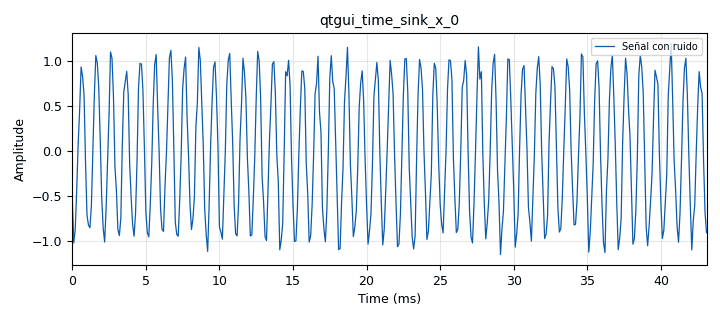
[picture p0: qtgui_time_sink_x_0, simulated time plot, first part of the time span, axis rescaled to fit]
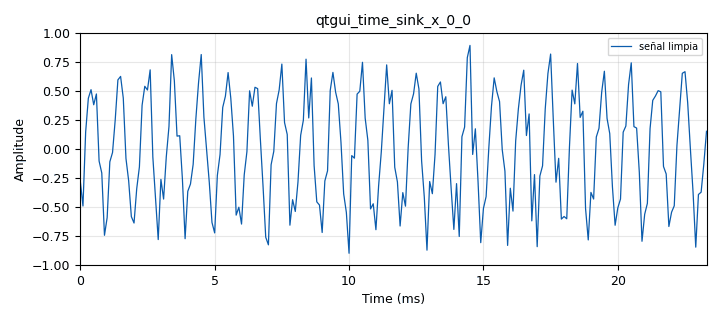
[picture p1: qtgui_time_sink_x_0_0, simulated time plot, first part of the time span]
options:
  parameters:
    author: Carlos
    generate_options: qt_gui
    id: aplicacion
    output_language: python
    title: Not titled yet
  states: {}

blocks:
- name: samp_rate
  id: variable
  parameters:
    value: '10000'
  states: {}
- name: analog_noise_source_x_0
  id: analog_noise_source_x
  parameters:
    amp: '0.1'
    noise_type: analog.GR_GAUSSIAN
    seed: '0'
    type: float
  states: {}
- name: analog_sig_source_x_0
  id: analog_sig_source_x
  parameters:
    amp: '1'
    freq: '1000'
    offset: '0'
    phase: '0'
    samp_rate: samp_rate
    type: float
    waveform: analog.GR_SIN_WAVE
  states: {}
- name: blocks_add_xx_0
  id: blocks_add_xx
  parameters:
    type: float
  states: {}
- name: blocks_throttle2_0
  id: blocks_throttle2
  parameters:
    samples_per_second: samp_rate
    type: float
  states: {}
- name: epy_block_0_0
  id: epy_block
  parameters:
    _source_code: |
      import numpy as np
      from gnuradio import gr

      class blk(gr.sync_block):
          def __init__(self):
              # Inicialización de la clase base
              gr.sync_block.__init__(
                  self,
                  name='Promedios_de_tiempos',  # Nombre que aparecerá en GRC
                  in_sig=[np.float32],  # Entrada de tipo float32
                  out_sig=[np.float32, np.float32, np.float32, np.float32, np.float32]  # Salidas de tipo float32
              )
              self.acum_anterior = 0
              self.Ntotales = 0
              self.acum_anterior1 = 0
              self.acum_anterior2 = 0

          def work(self, input_items, output_items):
              x = input_items[0]  # Señal de entrada
              y0 = output_items[0]  # Promedio de la señal
              y1 = output_items[1]  # Media cuadrática de la señal
              y2 = output_items[2]  # RMS de la señal
              y3 = output_items[3]  # Potencia promedio de la señal
              y4 = output_items[4]  # Desviación estándar de la señal

              # Cálculo del promedio
              N = len(x)
              self.Ntotales += N
              acumulado = self.acum_anterior + np.cumsum(x)
              self.acum_anterior = acumulado[-1]  # Último valor acumulado
              y0[:] = acumulado / self.Ntotales  # Promedio acumulado

              # Cálculo de la media cuadrática
              x2 = np.multiply(x, x)#
              acumulado1 = self.acum_anterior1 + np.cumsum(x2)
              self.acum_anterior1 = acumulado1[-1]  # Último valor acumulado
              y1[:] = acumulado1 / self.Ntotales  # Media cuadrática acumulada

              # Cálculo del RMS
              y2[:] = np.sqrt(y1)  # RMS = raíz cuadrada de la media cuadrática

              # Cálculo de la potencia promedio
              y3[:] = np.multiply(y2, y2)  # Potencia promedio = RMS^2

              # Cálculo de la desviación estándar
              x3 = np.multiply(x - y0, x - y0)  # (x - promedio)^2
              acumulado2 = self.acum_anterior2 + np.cumsum(x3)
              self.acum_anterior2 = acumulado2[-1]  # Último valor acumulado
              y4[:] = np.sqrt(acumulado2 / self.Ntotales)  # Desviación estándar

              # Retornamos el número de elementos procesados por salida
              return len(x)
  states: {}
- name: epy_block_0_0_0
  id: epy_block
  parameters:
    _source_code: |
      import numpy as np
      from gnuradio import gr

      class blk(gr.sync_block):
          def __init__(self):
              # Inicialización de la clase base
              gr.sync_block.__init__(
                  self,
                  name='Promedios_de_tiempos',  # Nombre que aparecerá en GRC
                  in_sig=[np.float32],  # Entrada de tipo float32
                  out_sig=[np.float32, np.float32, np.float32, np.float32, np.float32]  # Salidas de tipo float32
              )
              self.acum_anterior = 0
              self.Ntotales = 0
              self.acum_anterior1 = 0
              self.acum_anterior2 = 0

          def work(self, input_items, output_items):
              x = input_items[0]  # Señal de entrada
              y0 = output_items[0]  # Promedio de la señal
              y1 = output_items[1]  # Media cuadrática de la señal
              y2 = output_items[2]  # RMS de la señal
              y3 = output_items[3]  # Potencia promedio de la señal
              y4 = output_items[4]  # Desviación estándar de la señal

              # Cálculo del promedio
              N = len(x)
              self.Ntotales += N
              acumulado = self.acum_anterior + np.cumsum(x)
              self.acum_anterior = acumulado[-1]  # Último valor acumulado
              y0[:] = acumulado / self.Ntotales  # Promedio acumulado

              # Cálculo de la media cuadrática
              x2 = np.multiply(x, x)#
              acumulado1 = self.acum_anterior1 + np.cumsum(x2)
              self.acum_anterior1 = acumulado1[-1]  # Último valor acumulado
              y1[:] = acumulado1 / self.Ntotales  # Media cuadrática acumulada

              # Cálculo del RMS
              y2[:] = np.sqrt(y1)  # RMS = raíz cuadrada de la media cuadrática

              # Cálculo de la potencia promedio
              y3[:] = np.multiply(y2, y2)  # Potencia promedio = RMS^2

              # Cálculo de la desviación estándar
              x3 = np.multiply(x - y0, x - y0)  # (x - promedio)^2
              acumulado2 = self.acum_anterior2 + np.cumsum(x3)
              self.acum_anterior2 = acumulado2[-1]  # Último valor acumulado
              y4[:] = np.sqrt(acumulado2 / self.Ntotales)  # Desviación estándar

              # Retornamos el número de elementos procesados por salida
              return len(x)
  states: {}
- name: epy_block_1
  id: epy_block
  parameters:
    _source_code: |-
      import numpy as np
      from gnuradio import gr

      class blk(gr.sync_block):
          def __init__(self):
              # Inicializamos el bloque, señal de entrada y salida de tipo float32
              gr.sync_block.__init__(self, name='e_Diff', in_sig=[np.float32], out_sig=[np.float32])
          
          def work(self, input_items, output_items):
              x = input_items[0]  # Señal de entrada
              y0 = output_items[0]  # Señal de salida (diferencia)
              
              # Calculamos la diferencia entre muestras consecutivas
              y0[1:] = np.diff(x)  # La diferencia entre cada par de muestras consecutivas
              y0[0] = 0  # Asignamos 0 al primer valor, ya que no tiene diferencia anterior
              
              return len(output_items[0])  # Debemos devolver el tamaño de la salida
  states: {}
- name: qtgui_number_sink_0
  id: qtgui_number_sink
  parameters:
    graph_type: qtgui.NUM_GRAPH_HORIZ
    name: '"media"'
    type: float
  states: {}
- name: qtgui_number_sink_0_0
  id: qtgui_number_sink
  parameters:
    graph_type: qtgui.NUM_GRAPH_HORIZ
    name: '"media cuadratica"'
    type: float
  states: {}
- name: qtgui_number_sink_0_0_0
  id: qtgui_number_sink
  parameters:
    graph_type: qtgui.NUM_GRAPH_HORIZ
    name: '"media cuadratica"'
    type: float
  states: {}
- name: qtgui_number_sink_0_1
  id: qtgui_number_sink
  parameters:
    graph_type: qtgui.NUM_GRAPH_HORIZ
    name: '"RMS"'
    type: float
  states: {}
- name: qtgui_number_sink_0_1_0
  id: qtgui_number_sink
  parameters:
    graph_type: qtgui.NUM_GRAPH_HORIZ
    name: '"RMS"'
    type: float
  states: {}
- name: qtgui_number_sink_0_2
  id: qtgui_number_sink
  parameters:
    graph_type: qtgui.NUM_GRAPH_HORIZ
    name: '"Potencia promedio"'
    type: float
  states: {}
- name: qtgui_number_sink_0_2_0
  id: qtgui_number_sink
  parameters:
    graph_type: qtgui.NUM_GRAPH_HORIZ
    name: '"potencia promedio"'
    type: float
  states: {}
- name: qtgui_number_sink_0_3
  id: qtgui_number_sink
  parameters:
    graph_type: qtgui.NUM_GRAPH_HORIZ
    name: '"desviacion estandar"'
    type: float
  states: {}
- name: qtgui_number_sink_0_3_0
  id: qtgui_number_sink
  parameters:
    graph_type: qtgui.NUM_GRAPH_HORIZ
    name: '"desviacion estandar"'
    type: float
  states: {}
- name: qtgui_number_sink_0_4
  id: qtgui_number_sink
  parameters:
    graph_type: qtgui.NUM_GRAPH_HORIZ
    name: '"media"'
    type: float
  states: {}
- name: qtgui_time_sink_x_0
  id: qtgui_time_sink_x
  parameters:
    label1: 'Señal con ruido '
    size: '1024'
    srate: samp_rate
    type: float
  states: {}
- name: qtgui_time_sink_x_0_0
  id: qtgui_time_sink_x
  parameters:
    label1: 'señal limpia '
    size: '1024'
    srate: samp_rate
    type: float
  states: {}

connections:
- [analog_noise_source_x_0, '0', blocks_add_xx_0, '1']
- [analog_sig_source_x_0, '0', blocks_add_xx_0, '0']
- [blocks_add_xx_0, '0', blocks_throttle2_0, '0']
- [blocks_throttle2_0, '0', epy_block_0_0_0, '0']
- [blocks_throttle2_0, '0', epy_block_1, '0']
- [blocks_throttle2_0, '0', qtgui_time_sink_x_0, '0']
- [epy_block_0_0, '0', qtgui_number_sink_0, '0']
- [epy_block_0_0, '1', qtgui_number_sink_0_0, '0']
- [epy_block_0_0, '2', qtgui_number_sink_0_1, '0']
- [epy_block_0_0, '3', qtgui_number_sink_0_2, '0']
- [epy_block_0_0, '4', qtgui_number_sink_0_3, '0']
- [epy_block_0_0_0, '0', qtgui_number_sink_0_4, '0']
- [epy_block_0_0_0, '1', qtgui_number_sink_0_0_0, '0']
- [epy_block_0_0_0, '2', qtgui_number_sink_0_1_0, '0']
- [epy_block_0_0_0, '3', qtgui_number_sink_0_2_0, '0']
- [epy_block_0_0_0, '4', qtgui_number_sink_0_3_0, '0']
- [epy_block_1, '0', epy_block_0_0, '0']
- [epy_block_1, '0', qtgui_time_sink_x_0_0, '0']

metadata:
  file_format: 1
  grc_version: 3.10.10.0
